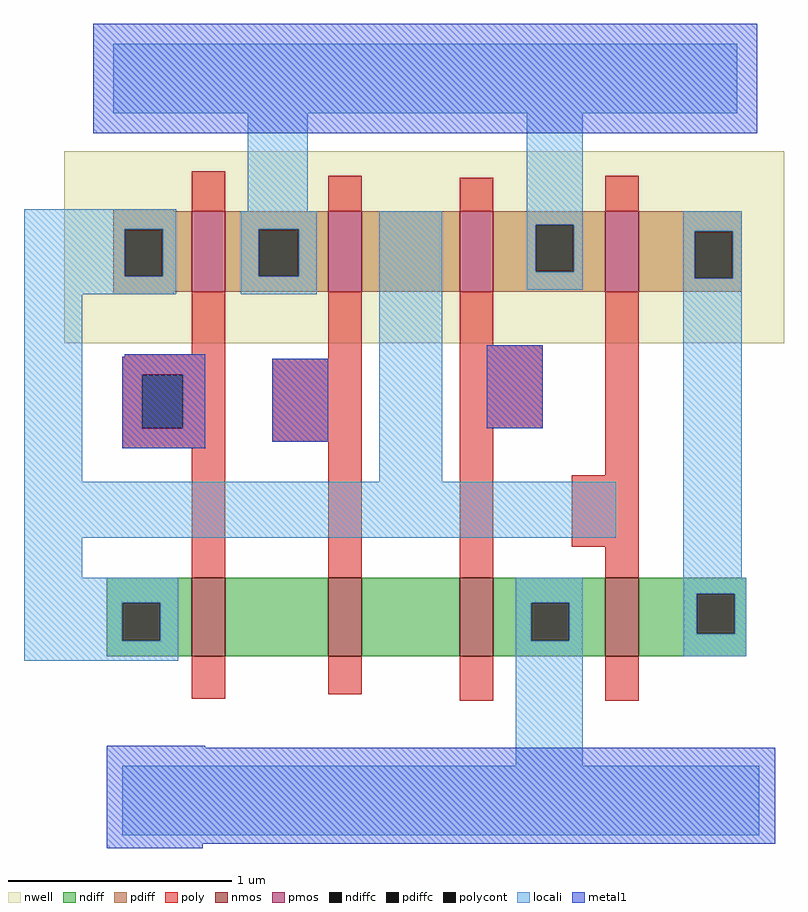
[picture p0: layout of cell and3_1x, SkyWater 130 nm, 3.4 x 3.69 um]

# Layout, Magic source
magic
tech sky130A
<< nwell >>
rect -142 45 180 131
<< nmos >>
rect -85 -95 -70 -60
rect -24 -95 -9 -60
rect 35 -95 50 -60
rect 100 -95 115 -60
<< pmos >>
rect -85 68 -70 104
rect -24 68 -9 104
rect 35 68 50 104
rect 100 68 115 104
<< ndiff >>
rect -123 -71 -85 -60
rect -123 -88 -116 -71
rect -99 -88 -85 -71
rect -123 -95 -85 -88
rect -70 -95 -24 -60
rect -9 -95 35 -60
rect 50 -71 100 -60
rect 50 -88 67 -71
rect 84 -88 100 -71
rect 50 -95 100 -88
rect 115 -67 163 -60
rect 115 -85 141 -67
rect 158 -85 163 -67
rect 115 -95 163 -85
<< pdiff >>
rect -120 104 -93 105
rect -120 96 -85 104
rect -120 75 -115 96
rect -98 75 -85 96
rect -120 68 -85 75
rect -70 96 -24 104
rect -70 75 -55 96
rect -37 75 -24 96
rect -70 68 -24 75
rect -9 68 35 104
rect 50 98 100 104
rect 50 77 69 98
rect 86 77 100 98
rect 50 68 100 77
rect 115 95 161 104
rect 115 74 140 95
rect 157 74 161 95
rect 115 68 161 74
rect -120 67 -93 68
<< ndiffc >>
rect -116 -88 -99 -71
rect 67 -88 84 -71
rect 141 -85 158 -67
<< pdiffc >>
rect -115 75 -98 96
rect -55 75 -37 96
rect 69 77 86 98
rect 140 74 157 95
<< poly >>
rect -85 104 -70 122
rect -24 104 -9 120
rect 35 104 50 119
rect 100 104 115 120
rect -85 40 -70 68
rect -115 39 -70 40
rect -116 31 -70 39
rect -24 38 -9 68
rect -116 7 -107 31
rect -89 7 -70 31
rect -116 -2 -70 7
rect -49 1 -9 38
rect -85 -60 -70 -2
rect -24 -60 -9 1
rect 35 44 50 68
rect 35 7 72 44
rect 35 -60 50 7
rect 100 -14 115 68
rect 85 -46 115 -14
rect 100 -60 115 -46
rect -85 -114 -70 -95
rect -24 -112 -9 -95
rect 35 -115 50 -95
rect 100 -115 115 -95
<< polycont >>
rect -107 7 -89 31
<< locali >>
rect -120 148 159 179
rect -160 96 -92 105
rect -60 104 -33 148
rect -160 75 -115 96
rect -98 75 -92 96
rect -160 67 -92 75
rect -63 96 -29 104
rect -63 75 -55 96
rect -37 75 -29 96
rect -63 67 -29 75
rect -160 -17 -134 67
rect -1 -17 27 104
rect 65 98 90 148
rect 65 77 69 98
rect 86 77 90 98
rect 65 69 90 77
rect 135 95 161 104
rect 135 74 140 95
rect 157 74 161 95
rect -160 -42 105 -17
rect -160 -60 -134 -42
rect 135 -60 161 74
rect -160 -71 -91 -60
rect -160 -88 -116 -71
rect -99 -88 -91 -71
rect -160 -97 -91 -88
rect 60 -71 90 -60
rect 60 -88 67 -71
rect 84 -88 90 -71
rect 60 -144 90 -88
rect 135 -67 163 -60
rect 135 -85 141 -67
rect 158 -85 163 -67
rect 135 -95 163 -85
rect -116 -175 169 -144
<< metal1 >>
rect -129 139 168 188
rect -115 39 -79 40
rect -116 -2 -79 39
rect -49 1 -24 38
rect 47 7 72 44
rect -123 -136 -79 -135
rect -123 -179 176 -136
rect -123 -181 -80 -179
<< end >>
